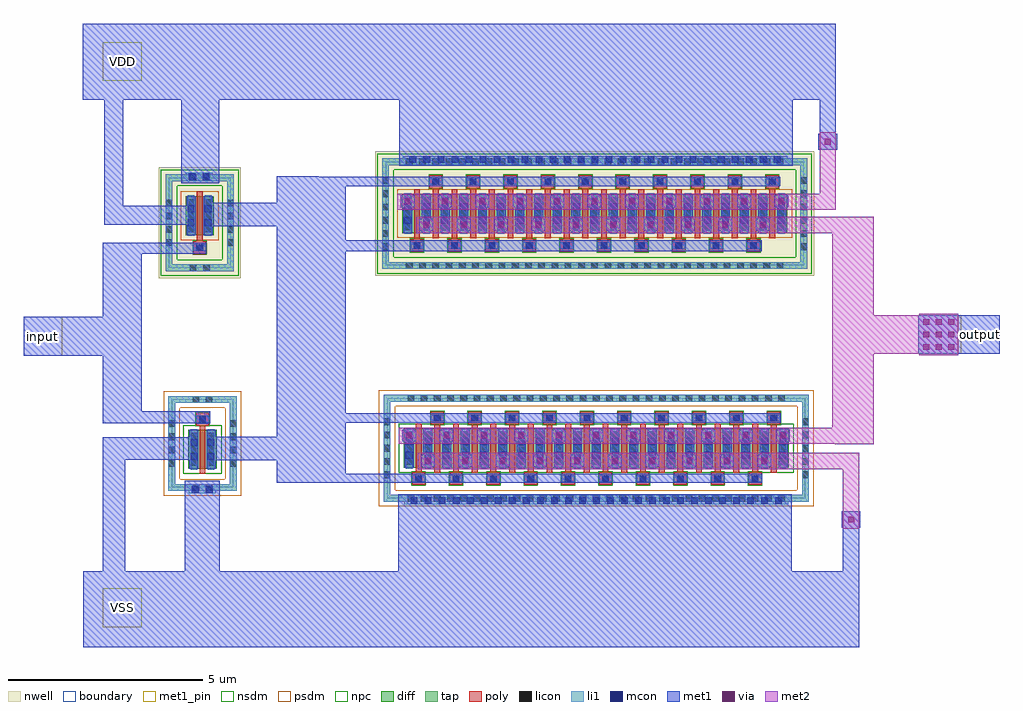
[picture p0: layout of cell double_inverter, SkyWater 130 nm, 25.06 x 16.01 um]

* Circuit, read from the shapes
.subckt double_inverter VDD VSS input output
XM1 n1 input VSS VSS sky130_fd_pr__nfet_01v8 w=1 l=0.15
XM2 VSS n1 output VSS sky130_fd_pr__nfet_01v8 w=1 l=0.15 m=20
XM3 n1 input VDD VDD sky130_fd_pr__pfet_01v8 w=1 l=0.15
XM4 output n1 VDD VDD sky130_fd_pr__pfet_01v8 w=1 l=0.15 m=20
.ends

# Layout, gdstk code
import gdstk
lib = gdstk.Library(unit=1e-6, precision=1e-09)
def R(c, l, rs):  # rectangles x0, y0, x1, y1
    for r in rs: c.add(gdstk.rectangle(r[:2], r[2:], *l))
def A(c, l, x, y, w, h, nx, ny, dx, dy):  # array of equal rectangles
    R(c, l, [(x+i*dx, y+j*dy, x+i*dx+w, y+j*dy+h) for i in range(nx) for j in range(ny)])
nwell = (64, 20)
diff = (65, 20)
tap = (65, 44)
poly = (66, 20)
licon = (66, 44)
li1 = (67, 20)
mcon = (67, 44)
met1_pin = (68, 16)
met1 = (68, 20)
via = (68, 44)
met2 = (69, 20)
nsdm = (93, 44)
psdm = (94, 20)
npc = (95, 20)
boundary = (235, 4)

sky130_fd_pr__nfet_01v8_ = lib.new_cell('sky130_fd_pr__nfet_01v8_YTLFGX')
R(sky130_fd_pr__nfet_01v8_, diff, [(-4.945,-0.5,4.945,0.5)])
R(sky130_fd_pr__nfet_01v8_, tap, [(-5.455,-1.37,5.455,-1.2), (-5.455,-1.2,-5.285,1.2), (5.285,-1.2,5.455,1.2), (-5.455,1.2,5.455,1.37)])
A(sky130_fd_pr__nfet_01v8_, poly, -4.725, -0.94, 0.33, 0.33, 10, 1, 0.96, 0)
A(sky130_fd_pr__nfet_01v8_, poly, -4.155, -0.63, 0.15, 1.24, 10, 1, 0.96, 0)
A(sky130_fd_pr__nfet_01v8_, poly, -4.635, -0.61, 0.15, 1.24, 10, 1, 0.96, 0)
A(sky130_fd_pr__nfet_01v8_, poly, -4.245, 0.61, 0.33, 0.33, 10, 1, 0.96, 0)
A(sky130_fd_pr__nfet_01v8_, licon, -4.845, -1.37, 0.17, 0.17, 29, 2, 0.34, 2.57)
A(sky130_fd_pr__nfet_01v8_, licon, -4.645, -0.86, 0.17, 0.17, 10, 1, 0.96, 0)
A(sky130_fd_pr__nfet_01v8_, licon, -5.455, -0.765, 0.17, 0.17, 1, 5, 0, 0.34)
A(sky130_fd_pr__nfet_01v8_, licon, 5.285, -0.765, 0.17, 0.17, 1, 5, 0, 0.34)
A(sky130_fd_pr__nfet_01v8_, licon, -4.885, -0.425, 0.17, 0.17, 21, 3, 0.48, 0.34)
A(sky130_fd_pr__nfet_01v8_, licon, -4.165, 0.69, 0.17, 0.17, 10, 1, 0.96, 0)
A(sky130_fd_pr__nfet_01v8_, li1, -4.725, -0.86, 0.33, 0.17, 10, 1, 0.96, 0)
A(sky130_fd_pr__nfet_01v8_, li1, -4.885, -0.52, 0.17, 1.04, 21, 1, 0.48, 0)
A(sky130_fd_pr__nfet_01v8_, li1, -4.245, 0.69, 0.33, 0.17, 10, 1, 0.96, 0)
R(sky130_fd_pr__nfet_01v8_, li1, [(-5.455,-1.37,5.455,-1.2), (-5.455,-1.2,-5.285,1.2), (5.285,-1.2,5.455,1.2), (-5.455,1.2,5.455,1.37)])
A(sky130_fd_pr__nfet_01v8_, mcon, -4.645, -0.86, 0.17, 0.17, 10, 1, 0.96, 0)
A(sky130_fd_pr__nfet_01v8_, mcon, -4.885, -0.265, 0.17, 0.17, 21, 2, 0.48, 0.36)
A(sky130_fd_pr__nfet_01v8_, mcon, -4.165, 0.69, 0.17, 0.17, 10, 1, 0.96, 0)
A(sky130_fd_pr__nfet_01v8_, met1, -4.705, -0.89, 0.29, 0.23, 10, 1, 0.96, 0)
A(sky130_fd_pr__nfet_01v8_, met1, -4.915, -0.5, 0.23, 1, 21, 1, 0.48, 0)
A(sky130_fd_pr__nfet_01v8_, met1, -4.225, 0.66, 0.29, 0.23, 10, 1, 0.96, 0)
R(sky130_fd_pr__nfet_01v8_, nsdm, [(-5.07,-0.625,5.07,0.625)])
R(sky130_fd_pr__nfet_01v8_, psdm, [(-5.58,-1.495,5.58,-1.075), (-5.58,-1.075,-5.16,1.075), (5.16,-1.075,5.58,1.075), (-5.58,1.075,5.58,1.495)])
A(sky130_fd_pr__nfet_01v8_, npc, -4.745, -0.96, 0.37, 0.37, 10, 1, 0.96, 0)
A(sky130_fd_pr__nfet_01v8_, npc, -4.265, 0.59, 0.37, 0.37, 10, 1, 0.96, 0)
R(sky130_fd_pr__nfet_01v8_, boundary, [(-5.37,-1.285,5.37,1.285)])

c_sky130_fd_pr__nfet_01v8_ = lib.new_cell('sky130_fd_pr__nfet_01v8_64Z3AY')
R(c_sky130_fd_pr__nfet_01v8_, diff, [(-0.365,-0.655,0.365,0.345)])
R(c_sky130_fd_pr__nfet_01v8_, tap, [(-0.875,-1.215,0.875,-1.045), (-0.875,-1.045,-0.705,1.045), (0.705,-1.045,0.875,1.045), (-0.875,1.045,0.875,1.215)])
R(c_sky130_fd_pr__nfet_01v8_, poly, [(-0.075,-0.785,0.075,0.455), (-0.165,0.455,0.165,0.785)])
A(c_sky130_fd_pr__nfet_01v8_, licon, -0.875, -0.595, 0.17, 0.17, 1, 4, 0, 0.34)
A(c_sky130_fd_pr__nfet_01v8_, licon, 0.705, -0.595, 0.17, 0.17, 1, 4, 0, 0.34)
A(c_sky130_fd_pr__nfet_01v8_, licon, -0.305, -0.58, 0.17, 0.17, 1, 3, 0, 0.34)
A(c_sky130_fd_pr__nfet_01v8_, licon, 0.135, -0.58, 0.17, 0.17, 1, 3, 0, 0.34)
R(c_sky130_fd_pr__nfet_01v8_, licon, [(-0.255,-1.215,-0.085,-1.045), (0.085,-1.215,0.255,-1.045), (-0.085,0.535,0.085,0.705), (-0.255,1.045,-0.085,1.215), (0.085,1.045,0.255,1.215)])
R(c_sky130_fd_pr__nfet_01v8_, li1, [(-0.875,-1.215,0.875,-1.045), (-0.875,-1.045,-0.705,1.045), (0.705,-1.045,0.875,1.045), (-0.305,-0.675,-0.135,0.365), (0.135,-0.675,0.305,0.365), (-0.165,0.535,0.165,0.705), (-0.875,1.045,0.875,1.215)])
R(c_sky130_fd_pr__nfet_01v8_, mcon, [(-0.305,-0.42,-0.135,-0.25), (0.135,-0.42,0.305,-0.25), (-0.305,-0.06,-0.135,0.11), (0.135,-0.06,0.305,0.11), (-0.085,0.535,0.085,0.705)])
R(c_sky130_fd_pr__nfet_01v8_, met1, [(-0.335,-0.655,-0.105,0.345), (0.105,-0.655,0.335,0.345), (-0.145,0.505,0.145,0.735)])
R(c_sky130_fd_pr__nfet_01v8_, nsdm, [(-0.49,-0.78,0.49,0.47)])
R(c_sky130_fd_pr__nfet_01v8_, psdm, [(-1,-1.34,1,-0.92), (-1,-0.92,-0.58,0.92), (0.58,-0.92,1,0.92), (-1,0.92,1,1.34)])
R(c_sky130_fd_pr__nfet_01v8_, npc, [(-0.185,0.435,0.185,0.805)])
R(c_sky130_fd_pr__nfet_01v8_, boundary, [(-0.79,-1.13,0.79,1.13)])

sky130_fd_pr__pfet_01v8_ = lib.new_cell('sky130_fd_pr__pfet_01v8_LGS3BL')
R(sky130_fd_pr__pfet_01v8_, nwell, [(-1.055,-1.42,1.055,1.42)])
R(sky130_fd_pr__pfet_01v8_, diff, [(-0.365,-0.32,0.365,0.68)])
R(sky130_fd_pr__pfet_01v8_, tap, [(-0.875,-1.24,0.875,-1.07), (-0.875,-1.07,-0.705,1.07), (0.705,-1.07,0.875,1.07), (-0.875,1.07,0.875,1.24)])
R(sky130_fd_pr__pfet_01v8_, poly, [(-0.165,-0.805,0.165,-0.475), (-0.075,-0.475,0.075,0.81)])
A(sky130_fd_pr__pfet_01v8_, licon, -0.875, -0.595, 0.17, 0.17, 1, 4, 0, 0.34)
A(sky130_fd_pr__pfet_01v8_, licon, 0.705, -0.595, 0.17, 0.17, 1, 4, 0, 0.34)
A(sky130_fd_pr__pfet_01v8_, licon, -0.305, -0.245, 0.17, 0.17, 1, 3, 0, 0.34)
A(sky130_fd_pr__pfet_01v8_, licon, 0.135, -0.245, 0.17, 0.17, 1, 3, 0, 0.34)
R(sky130_fd_pr__pfet_01v8_, licon, [(-0.255,-1.24,-0.085,-1.07), (0.085,-1.24,0.255,-1.07), (-0.085,-0.725,0.085,-0.555), (-0.255,1.07,-0.085,1.24), (0.085,1.07,0.255,1.24)])
R(sky130_fd_pr__pfet_01v8_, li1, [(-0.875,-1.24,0.875,-1.07), (-0.875,-1.07,-0.705,1.07), (0.705,-1.07,0.875,1.07), (-0.165,-0.725,0.165,-0.555), (-0.305,-0.34,-0.135,0.7), (0.135,-0.34,0.305,0.7), (-0.875,1.07,0.875,1.24)])
R(sky130_fd_pr__pfet_01v8_, mcon, [(-0.085,-0.725,0.085,-0.555), (-0.305,-0.085,-0.135,0.085), (0.135,-0.085,0.305,0.085), (-0.305,0.275,-0.135,0.445), (0.135,0.275,0.305,0.445)])
R(sky130_fd_pr__pfet_01v8_, met1, [(-0.145,-0.755,0.145,-0.525), (-0.335,-0.32,-0.105,0.68), (0.105,-0.32,0.335,0.68)])
R(sky130_fd_pr__pfet_01v8_, nsdm, [(-1,-1.365,1,-0.945), (-1,-0.945,-0.58,0.945), (0.58,-0.945,1,0.945), (-1,0.945,1,1.365)])
R(sky130_fd_pr__pfet_01v8_, psdm, [(-0.49,-0.445,0.49,0.805)])
R(sky130_fd_pr__pfet_01v8_, npc, [(-0.185,-0.825,0.185,-0.455)])
R(sky130_fd_pr__pfet_01v8_, boundary, [(-0.79,-1.155,0.79,1.155)])

c_sky130_fd_pr__pfet_01v8_ = lib.new_cell('sky130_fd_pr__pfet_01v8_8DVCWJ')
R(c_sky130_fd_pr__pfet_01v8_, nwell, [(-5.635,-1.595,5.635,1.595)])
R(c_sky130_fd_pr__pfet_01v8_, diff, [(-4.945,-0.5,4.945,0.5)])
R(c_sky130_fd_pr__pfet_01v8_, tap, [(-5.455,-1.415,5.455,-1.245), (-5.455,-1.245,-5.285,1.245), (5.285,-1.245,5.455,1.245), (-5.455,1.245,5.455,1.415)])
A(c_sky130_fd_pr__pfet_01v8_, poly, -4.725, -0.985, 0.33, 0.33, 10, 1, 0.96, 0)
A(c_sky130_fd_pr__pfet_01v8_, poly, -4.635, -0.655, 0.15, 1.285, 10, 1, 0.96, 0)
A(c_sky130_fd_pr__pfet_01v8_, poly, -4.155, -0.63, 0.15, 1.285, 10, 1, 0.96, 0)
A(c_sky130_fd_pr__pfet_01v8_, poly, -4.245, 0.655, 0.33, 0.33, 10, 1, 0.96, 0)
A(c_sky130_fd_pr__pfet_01v8_, licon, -4.845, -1.415, 0.17, 0.17, 29, 2, 0.34, 2.66)
A(c_sky130_fd_pr__pfet_01v8_, licon, -5.455, -0.935, 0.17, 0.17, 1, 6, 0, 0.34)
A(c_sky130_fd_pr__pfet_01v8_, licon, 5.285, -0.935, 0.17, 0.17, 1, 6, 0, 0.34)
A(c_sky130_fd_pr__pfet_01v8_, licon, -4.645, -0.905, 0.17, 0.17, 10, 1, 0.96, 0)
A(c_sky130_fd_pr__pfet_01v8_, licon, -4.885, -0.425, 0.17, 0.17, 21, 3, 0.48, 0.34)
A(c_sky130_fd_pr__pfet_01v8_, licon, -4.165, 0.735, 0.17, 0.17, 10, 1, 0.96, 0)
A(c_sky130_fd_pr__pfet_01v8_, li1, -4.725, -0.905, 0.33, 0.17, 10, 1, 0.96, 0)
A(c_sky130_fd_pr__pfet_01v8_, li1, -4.885, -0.52, 0.17, 1.04, 21, 1, 0.48, 0)
A(c_sky130_fd_pr__pfet_01v8_, li1, -4.245, 0.735, 0.33, 0.17, 10, 1, 0.96, 0)
R(c_sky130_fd_pr__pfet_01v8_, li1, [(-5.455,-1.415,5.455,-1.245), (-5.455,-1.245,-5.285,1.245), (5.285,-1.245,5.455,1.245), (-5.455,1.245,5.455,1.415)])
A(c_sky130_fd_pr__pfet_01v8_, mcon, -4.645, -0.905, 0.17, 0.17, 10, 1, 0.96, 0)
A(c_sky130_fd_pr__pfet_01v8_, mcon, -4.885, -0.265, 0.17, 0.17, 21, 2, 0.48, 0.36)
A(c_sky130_fd_pr__pfet_01v8_, mcon, -4.165, 0.735, 0.17, 0.17, 10, 1, 0.96, 0)
A(c_sky130_fd_pr__pfet_01v8_, met1, -4.705, -0.935, 0.29, 0.23, 10, 1, 0.96, 0)
A(c_sky130_fd_pr__pfet_01v8_, met1, -4.915, -0.5, 0.23, 1, 21, 1, 0.48, 0)
A(c_sky130_fd_pr__pfet_01v8_, met1, -4.225, 0.705, 0.29, 0.23, 10, 1, 0.96, 0)
R(c_sky130_fd_pr__pfet_01v8_, nsdm, [(-5.58,-1.54,5.58,-1.12), (-5.58,-1.12,-5.16,1.12), (5.16,-1.12,5.58,1.12), (-5.58,1.12,5.58,1.54)])
R(c_sky130_fd_pr__pfet_01v8_, psdm, [(-5.07,-0.625,5.07,0.625)])
A(c_sky130_fd_pr__pfet_01v8_, npc, -4.745, -1.005, 0.37, 0.37, 10, 1, 0.96, 0)
A(c_sky130_fd_pr__pfet_01v8_, npc, -4.265, 0.635, 0.37, 0.37, 10, 1, 0.96, 0)
R(c_sky130_fd_pr__pfet_01v8_, boundary, [(-5.37,-1.33,5.37,1.33)])

double_inverter = lib.new_cell('double_inverter')
R(double_inverter, li1, [(12.24,-6.35,22.1,-6.16), (6.7,-6.07,7.4,-5.86), (6.62,1.98,7.32,2.16), (12.2,2.42,22.07,2.59)])
A(double_inverter, mcon, 12.405, -6.34, 0.17, 0.17, 27, 1, 0.36, 0)
A(double_inverter, mcon, 12.37, 2.42, 0.17, 0.17, 27, 1, 0.36, 0)
R(double_inverter, mcon, [(6.785,-6.05,6.955,-5.88), (7.145,-6.05,7.315,-5.88), (6.705,1.985,6.875,2.155), (7.065,1.985,7.235,2.155)])
R(double_inverter, met1_pin, [(4.49,-9.5,5.49,-8.5), (2.46,-2.53,3.46,-1.53), (26.52,-2.49,27.52,-1.49), (4.5,4.52,5.5,5.52)])
A(double_inverter, met1, 12.66, -5.38, 0.36, 0.3, 10, 1, 0.96, 0)
A(double_inverter, met1, 12.18, -4.73, 0.36, 0.3, 11, 1, 0.96, 0)
A(double_inverter, met1, 12.62, 0.68, 0.36, 0.3, 10, 1, 0.96, 0)
A(double_inverter, met1, 12.14, 1.28, 0.36, 0.3, 11, 1, 0.96, 0)
R(double_inverter, met1, [(4,-10.02,23.92,-8.07), (4.5,-8.07,5.07,-5.2), (6.6,-8.07,7.5,-5.74), (12.08,-8.07,22.18,-6.09), (23.5,-8.07,23.92,-6.95), (23.47,-6.95,23.95,-6.53), (8.96,-5.8,21.43,-5.56), (8.96,-5.56,10.74,-5.22), (7.16,-5.22,10.74,-4.62), (4.5,-5.2,6.94,-4.63), (8.96,-4.62,10.74,-4.26), (4.49,-4.27,7.26,-3.96), (8.96,-4.26,21.9,-4.01), (8.96,-4.01,10.74,0.15), (4.49,-3.96,5.49,-2.53), (2.46,-2.53,5.49,-1.53), (25.43,-2.49,27.52,-1.49), (4.49,-1.53,5.49,0.09), (4.49,0.09,7.15,0.37), (8.96,0.15,21.42,0.43), (8.96,0.43,10.74,0.79), (7.09,0.79,10.74,1.39), (4.53,0.83,6.87,1.32), (4.53,1.32,5.02,4.04), (8.96,1.39,10.74,1.82), (8.96,1.82,21.89,2.06), (6.51,1.89,7.49,4.04), (8.96,2.06,10.04,2.07), (12.11,2.34,22.21,4.04), (22.87,2.75,23.35,3.17), (22.9,3.17,23.32,4.04), (3.98,4.04,23.32,5.99)])
A(double_inverter, via, 12.765, -5.305, 0.15, 0.15, 10, 1, 0.96, 0)
A(double_inverter, via, 12.285, -4.655, 0.15, 0.15, 11, 1, 0.96, 0)
A(double_inverter, via, 25.565, -2.385, 0.15, 0.15, 3, 3, 0.32, 0.32)
A(double_inverter, via, 12.725, 0.755, 0.15, 0.15, 10, 1, 0.96, 0)
A(double_inverter, via, 12.245, 1.355, 0.15, 0.15, 11, 1, 0.96, 0)
R(double_inverter, via, [(23.635,-6.815,23.785,-6.665), (23.035,2.885,23.185,3.035)])
R(double_inverter, met2, [(23.5,-6.98,23.92,-5.45), (12.58,-5.45,23.92,-5.03), (23.29,-4.81,24.29,-4.8), (12.1,-4.8,24.29,-4.38), (23.23,-4.38,24.29,-2.49), (25.46,-2.52,26.46,-2.49), (23.23,-2.49,26.46,-1.49), (23.23,-1.49,24.29,0.61), (25.46,-1.49,26.46,-1.46), (12.54,0.61,24.29,1.03), (12.06,1.21,23.32,1.63), (22.9,1.63,23.32,3.2)])
double_inverter.add(gdstk.Reference(sky130_fd_pr__nfet_01v8_, (17.165,-4.91)))
double_inverter.add(gdstk.Reference(c_sky130_fd_pr__nfet_01v8_, (7.055,-4.785)))
double_inverter.add(gdstk.Reference(sky130_fd_pr__pfet_01v8_, (6.985,0.88)))
double_inverter.add(gdstk.Reference(c_sky130_fd_pr__pfet_01v8_, (17.125,1.115)))
double_inverter.add(gdstk.Label('VDD', (5,5.02), layer=68, texttype=5))
double_inverter.add(gdstk.Label('VSS', (4.99,-9), layer=68, texttype=5))
double_inverter.add(gdstk.Label('input', (2.96,-2.03), layer=68, texttype=5))
double_inverter.add(gdstk.Label('output', (27.02,-1.99), layer=68, texttype=5))

lib.write_gds('double_inverter.gds')
